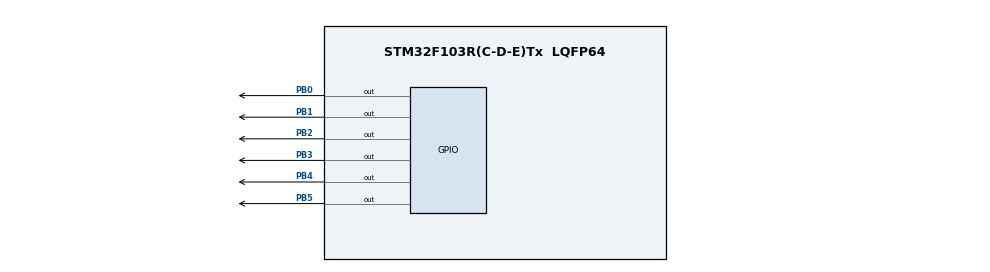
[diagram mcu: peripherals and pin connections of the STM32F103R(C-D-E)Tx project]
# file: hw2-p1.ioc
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Mcu.Family=STM32F1
Mcu.Name=STM32F103R(C-D-E)Tx
Mcu.Package=LQFP64
NVIC.PriorityGroup=NVIC_PRIORITYGROUP_4
PA13.Mode=Serial_Wire
PA13.Signal=SYS_JTMS-SWDIO
PA14.Mode=Serial_Wire
PA14.Signal=SYS_JTCK-SWCLK
PB0.Signal=GPIO_Output
PB1.Signal=GPIO_Output
PB2.Signal=GPIO_Output
PB3.Signal=GPIO_Output
PB4.Signal=GPIO_Output
PB5.Signal=GPIO_Output
PD0-OSC_IN.Mode=HSE-External-Oscillator
PD0-OSC_IN.Signal=RCC_OSC_IN
PD1-OSC_OUT.Mode=HSE-External-Oscillator
PD1-OSC_OUT.Signal=RCC_OSC_OUT
ProjectManager.HeapSize=0x200
ProjectManager.StackSize=0x400
ProjectManager.TargetToolchain=MDK-ARM V5.32
RCC.APB1Freq_Value=8000000
RCC.APB2Freq_Value=8000000
board=custom

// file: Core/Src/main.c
/* USER CODE BEGIN Header */
/**
  ******************************************************************************
  * @file           : main.c
  * @brief          : Main program body
  ******************************************************************************
  * @attention
  *
  * Copyright (c) 2026 STMicroelectronics.
  * All rights reserved.
  *
  * This software is licensed under terms that can be found in the LICENSE file
  * in the root directory of this software component.
  * If no LICENSE file comes with this software, it is provided AS-IS.
  *
  ******************************************************************************
  */
/* USER CODE END Header */
#include "main.h"

/* USER CODE BEGIN Includes */
#include "lcd.h"

/* USER CODE END Includes */

/* USER CODE BEGIN PD */
#define RS_PIN GPIO_PIN_0
#define RS_PORT GPIOB

#define ENB_PIN GPIO_PIN_1
#define ENB_PORT GPIOB

#define LCD_PORTS {GPIOB,GPIOB,GPIOB,GPIOB}
#define LCD_PINS {GPIO_PIN_2,GPIO_PIN_3,GPIO_PIN_4,GPIO_PIN_5}

/* USER CODE END PD */

void SystemClock_Config(void);
static void MX_GPIO_Init(void);

int main(void)
{

  /* USER CODE BEGIN 1 */
	char *name = "Reza Nadimi";
	char *department = "Inteli Systems";
  /* USER CODE END 1 */

  /* MCU Configuration--------------------------------------------------------*/

  /* Reset of all peripherals, Initializes the Flash interface and the Systick. */
  HAL_Init();

  /* Configure the system clock */
  SystemClock_Config();

  /* Initialize all configured peripherals */
  MX_GPIO_Init();
  /* USER CODE BEGIN 2 */
	Lcd_PortType Ports[] = LCD_PORTS;
	Lcd_PinType Pins[]= LCD_PINS;

	Lcd_HandleTypeDef lcd;
	lcd = Lcd_create(Ports, Pins, RS_PORT, RS_PIN, ENB_PORT, ENB_PIN, LCD_4_BIT_MODE);

	int len = strlen(name);
	int len_dep = strlen(department);

	int center_name = (len < 16) ? (16 - len) / 2 : 0;
	int center_dep = (len_dep < 16) ? (16 - len_dep) / 2 : 0;

	Lcd_cursor(&lcd, 0, center_dep);
	Lcd_string(&lcd, department);

	Lcd_cursor(&lcd, 1, center_name);
	Lcd_string(&lcd, name);

  /* USER CODE END 2 */

  /* Infinite loop */
  while (1)
  {

  }
}

void SystemClock_Config(void)
{
  RCC_OscInitTypeDef RCC_OscInitStruct = {0};
  RCC_ClkInitTypeDef RCC_ClkInitStruct = {0};

  /** Initializes the RCC Oscillators according to the specified parameters
  * in the RCC_OscInitTypeDef structure.
  */
  RCC_OscInitStruct.OscillatorType = RCC_OSCILLATORTYPE_HSI;
  RCC_OscInitStruct.HSIState = RCC_HSI_ON;
  RCC_OscInitStruct.HSICalibrationValue = RCC_HSICALIBRATION_DEFAULT;
  RCC_OscInitStruct.PLL.PLLState = RCC_PLL_NONE;
  if (HAL_RCC_OscConfig(&RCC_OscInitStruct) != HAL_OK)
  {
    Error_Handler();
  }

  /** Initializes the CPU, AHB and APB buses clocks
  */
  RCC_ClkInitStruct.ClockType = RCC_CLOCKTYPE_HCLK|RCC_CLOCKTYPE_SYSCLK
                              |RCC_CLOCKTYPE_PCLK1|RCC_CLOCKTYPE_PCLK2;
  RCC_ClkInitStruct.SYSCLKSource = RCC_SYSCLKSOURCE_HSI;
  RCC_ClkInitStruct.AHBCLKDivider = RCC_SYSCLK_DIV1;
  RCC_ClkInitStruct.APB1CLKDivider = RCC_HCLK_DIV1;
  RCC_ClkInitStruct.APB2CLKDivider = RCC_HCLK_DIV1;

  if (HAL_RCC_ClockConfig(&RCC_ClkInitStruct, FLASH_LATENCY_0) != HAL_OK)
  {
    Error_Handler();
  }
}

static void MX_GPIO_Init(void)
{
  GPIO_InitTypeDef GPIO_InitStruct = {0};

  /* GPIO Ports Clock Enable */
  __HAL_RCC_GPIOD_CLK_ENABLE();
  __HAL_RCC_GPIOB_CLK_ENABLE();
  __HAL_RCC_GPIOA_CLK_ENABLE();

  /*Configure GPIO pin Output Level */
  HAL_GPIO_WritePin(GPIOB, GPIO_PIN_0|GPIO_PIN_1|GPIO_PIN_2|GPIO_PIN_3
                          |GPIO_PIN_4|GPIO_PIN_5, GPIO_PIN_RESET);

  /*Configure GPIO pins : PB0 PB1 PB2 PB3
                           PB4 PB5 */
  GPIO_InitStruct.Pin = GPIO_PIN_0|GPIO_PIN_1|GPIO_PIN_2|GPIO_PIN_3
                          |GPIO_PIN_4|GPIO_PIN_5;
  GPIO_InitStruct.Mode = GPIO_MODE_OUTPUT_PP;
  GPIO_InitStruct.Pull = GPIO_NOPULL;
  GPIO_InitStruct.Speed = GPIO_SPEED_FREQ_LOW;
  HAL_GPIO_Init(GPIOB, &GPIO_InitStruct);

}

void Error_Handler(void)
{
  __disable_irq();
  while (1)
  {
  }
}
